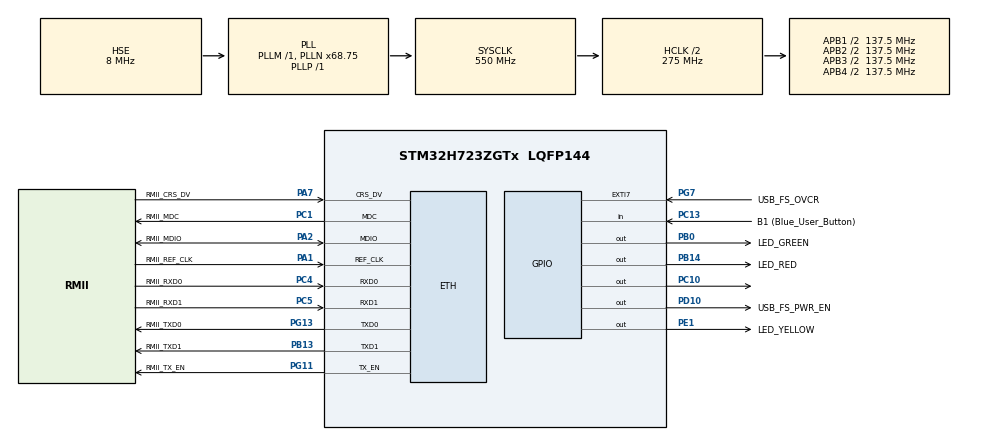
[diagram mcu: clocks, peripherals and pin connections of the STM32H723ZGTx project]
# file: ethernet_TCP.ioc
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CORTEX_M7.AccessPermission-Cortex_Memory_Protection_Unit_Region0_Settings=MPU_REGION_NO_ACCESS
CORTEX_M7.AccessPermission-Cortex_Memory_Protection_Unit_Region1_Settings=MPU_REGION_FULL_ACCESS
CORTEX_M7.AccessPermission-Cortex_Memory_Protection_Unit_Region2_Settings=MPU_REGION_FULL_ACCESS
CORTEX_M7.BaseAddress-Cortex_Memory_Protection_Unit_Region0_Settings=0x00
CORTEX_M7.BaseAddress-Cortex_Memory_Protection_Unit_Region1_Settings=0x30000000
CORTEX_M7.BaseAddress-Cortex_Memory_Protection_Unit_Region2_Settings=0x30004000
CORTEX_M7.CPU_DCache=Enabled
CORTEX_M7.CPU_ICache=Enabled
CORTEX_M7.DisableExec-Cortex_Memory_Protection_Unit_Region0_Settings=MPU_INSTRUCTION_ACCESS_DISABLE
CORTEX_M7.DisableExec-Cortex_Memory_Protection_Unit_Region1_Settings=MPU_INSTRUCTION_ACCESS_ENABLE
CORTEX_M7.Enable-Cortex_Memory_Protection_Unit_Region0_Settings=MPU_REGION_ENABLE
CORTEX_M7.Enable-Cortex_Memory_Protection_Unit_Region1_Settings=MPU_REGION_ENABLE
CORTEX_M7.Enable-Cortex_Memory_Protection_Unit_Region2_Settings=MPU_REGION_ENABLE
CORTEX_M7.IsBufferable-Cortex_Memory_Protection_Unit_Region1_Settings=MPU_ACCESS_BUFFERABLE
CORTEX_M7.IsCacheable-Cortex_Memory_Protection_Unit_Region0_Settings=MPU_ACCESS_NOT_CACHEABLE
CORTEX_M7.IsShareable-Cortex_Memory_Protection_Unit_Region0_Settings=MPU_ACCESS_SHAREABLE
CORTEX_M7.IsShareable-Cortex_Memory_Protection_Unit_Region2_Settings=MPU_ACCESS_SHAREABLE
CORTEX_M7.MPU_Control=MPU_PRIVILEGED_DEFAULT
CORTEX_M7.Size-Cortex_Memory_Protection_Unit_Region0_Settings=MPU_REGION_SIZE_4GB
CORTEX_M7.Size-Cortex_Memory_Protection_Unit_Region1_Settings=MPU_REGION_SIZE_1KB
CORTEX_M7.Size-Cortex_Memory_Protection_Unit_Region2_Settings=MPU_REGION_SIZE_16KB
CORTEX_M7.SubRegionDisable-Cortex_Memory_Protection_Unit_Region0_Settings=0x87
CORTEX_M7.TypeExtField-Cortex_Memory_Protection_Unit_Region0_Settings=MPU_TEX_LEVEL0
CORTEX_M7.TypeExtField-Cortex_Memory_Protection_Unit_Region2_Settings=MPU_TEX_LEVEL1
ETH.MediaInterface=HAL_ETH_RMII_MODE
ETH.RxBuffLen=1524
ETH.TxDescAddress=0x30000200
LWIP.BSP.number=1
LWIP.GATEWAY_ADDRESS=192.168.000.001
LWIP.IP_ADDRESS=192.168.000.123
LWIP.LWIP_DHCP=0
LWIP.LWIP_RAM_HEAP_POINTER=0x30004000
LWIP.MEM_SIZE=10*1024
LWIP.NETMASK_ADDRESS=255.255.255.000
LWIP.Version=v2.1.2_Cube
LWIP0.BSP.STBoard=false
LWIP0.BSP.api=BSP_COMPONENT_DRIVER
LWIP0.BSP.component=LAN8742
LWIP0.BSP.instance=LAN8742
LWIP0.BSP.name=Driver_PHY
LWIP0.BSP.semaphore=S_LAN8742
LWIP0.BSP.solution=LAN8742
Mcu.Family=STM32H7
Mcu.Name=STM32H723ZGTx
Mcu.Package=LQFP144
NVIC.ETH_IRQn=true\:0\:0\:false\:false\:true\:true\:true\:true
NVIC.PriorityGroup=NVIC_PRIORITYGROUP_4
NVIC.TIM1_UP_IRQn=true\:0\:0\:false\:false\:true\:true\:true\:true
PA1.GPIO_Label=RMII_REF_CLK
PA1.GPIO_Speed=GPIO_SPEED_FREQ_VERY_HIGH
PA1.Mode=RMII
PA1.Signal=ETH_REF_CLK
PA10.GPIO_Label=USB_FS_ID
PA10.Signal=USB_OTG_HS_ID
PA13(JTMS/SWDIO).GPIO_Label=SWDIO
PA13(JTMS/SWDIO).Signal=DEBUG_JTMS-SWDIO
PA14(JTCK/SWCLK).GPIO_Label=SWCLK
PA14(JTCK/SWCLK).Signal=DEBUG_JTCK-SWCLK
PA2.GPIO_Label=RMII_MDIO
PA2.GPIO_Speed=GPIO_SPEED_FREQ_VERY_HIGH
PA2.Mode=RMII
PA2.Signal=ETH_MDIO
PA7.GPIO_Label=RMII_CRS_DV
PA7.GPIO_Speed=GPIO_SPEED_FREQ_VERY_HIGH
PA7.Mode=RMII
PA7.Signal=ETH_CRS_DV
PA9.GPIO_Label=USB_FS_VBUS
PA9.Signal=USB_OTG_HS_VBUS
PB0.GPIO_Label=LED_GREEN
PB0.Signal=GPIO_Output
PB13.GPIO_Label=RMII_TXD1
PB13.GPIO_Speed=GPIO_SPEED_FREQ_VERY_HIGH
PB13.Mode=RMII
PB13.Signal=ETH_TXD1
PB14.GPIO_Label=LED_RED
PB14.Signal=GPIO_Output
PB3(JTDO/TRACESWO).GPIO_Label=SWO
PB3(JTDO/TRACESWO).Signal=DEBUG_JTDO-SWO
PC1.GPIO_Label=RMII_MDC
PC1.GPIO_Speed=GPIO_SPEED_FREQ_VERY_HIGH
PC1.Mode=RMII
PC1.Signal=ETH_MDC
PC10.Signal=GPIO_Output
PC13.GPIO_Label=B1 (Blue_User_Button)
PC13.Signal=GPIO_Input
PC14-OSC32_IN.Signal=RCC_OSC32_IN
PC15-OSC32_OUT.Signal=RCC_OSC32_OUT
PC4.GPIO_Label=RMII_RXD0
PC4.GPIO_Speed=GPIO_SPEED_FREQ_VERY_HIGH
PC4.Mode=RMII
PC4.Signal=ETH_RXD0
PC5.GPIO_Label=RMII_RXD1
PC5.GPIO_Speed=GPIO_SPEED_FREQ_VERY_HIGH
PC5.Mode=RMII
PC5.Signal=ETH_RXD1
PD10.GPIO_Label=USB_FS_PWR_EN
PD10.Signal=GPIO_Output
PD8.GPIO_Label=STLK_VCP_RX
PD8.Signal=USART3_TX
PD9.GPIO_Label=STLK_VCP_TX
PD9.Signal=USART3_RX
PE1.GPIO_Label=LED_YELLOW
PE1.Signal=GPIO_Output
PG11.GPIO_Label=RMII_TX_EN
PG11.GPIO_Speed=GPIO_SPEED_FREQ_VERY_HIGH
PG11.Mode=RMII
PG11.Signal=ETH_TX_EN
PG13.GPIO_Label=RMII_TXD0
PG13.GPIO_Speed=GPIO_SPEED_FREQ_VERY_HIGH
PG13.Mode=RMII
PG13.Signal=ETH_TXD0
PG7.GPIO_Label=USB_FS_OVCR
PG7.Signal=GPXTI7
PH0-OSC_IN.GPIO_Label=MCO
PH0-OSC_IN.Mode=HSE-External-Oscillator
PH0-OSC_IN.Signal=RCC_OSC_IN
PH1-OSC_OUT.Mode=HSE-External-Oscillator
PH1-OSC_OUT.Signal=RCC_OSC_OUT
ProjectManager.HeapSize=0x200
ProjectManager.StackSize=0x400
ProjectManager.TargetToolchain=STM32CubeIDE
RCC.ADCFreq_Value=76000000
RCC.APB1Freq_Value=137500000
RCC.APB2Freq_Value=137500000
RCC.APB3Freq_Value=137500000
RCC.APB4Freq_Value=137500000
RCC.CortexFreq_Value=550000000
RCC.D1PPRE=RCC_APB3_DIV2
RCC.D2PPRE1=RCC_APB1_DIV2
RCC.D2PPRE2=RCC_APB2_DIV2
RCC.D3PPRE=RCC_APB4_DIV2
RCC.DIVM1=1
RCC.DIVM2=1
RCC.DIVN1=68
RCC.DIVN2=19
RCC.DIVP1=1
RCC.DIVQ1=4
RCC.HCLKFreq_Value=275000000
RCC.HPRE=RCC_HCLK_DIV2
RCC.HSE_VALUE=8000000
RCC.PLLFRACN=6144
RCC.PLLSourceVirtual=RCC_PLLSOURCE_HSE
RCC.SYSCLKFreq_VALUE=550000000
RCC.SYSCLKSource=RCC_SYSCLKSOURCE_PLLCLK
RCC.USBCLockSelection=RCC_USBCLKSOURCE_HSI48
RCC.USBFreq_Value=48000000
TIM1.AutoReloadPreload=TIM_AUTORELOAD_PRELOAD_ENABLE
TIM1.Period=9999
TIM1.Prescaler=27499
VP_LWIP_VS_Enabled.Mode=Enabled
VP_TIM1_VS_ClockSourceINT.Mode=Internal
board=NUCLEO-H723ZG

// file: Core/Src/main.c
/* USER CODE BEGIN Header */
/**
  ******************************************************************************
  * @file           : main.c
  * @brief          : Main program body
  ******************************************************************************
  * @attention
  *
  * Copyright (c) 2022 STMicroelectronics.
  * All rights reserved.
  *
  * This software is licensed under terms that can be found in the LICENSE file
  * in the root directory of this software component.
  * If no LICENSE file comes with this software, it is provided AS-IS.
  *
  ******************************************************************************
  */
/* USER CODE END Header */
#include "main.h"
#include "lwip.h"

/* USER CODE BEGIN Includes */
#include "lwip/opt.h"
#include "lwip/init.h"
#include "netif/etharp.h"
#include "lwip/netif.h"
#include "lwip/timeouts.h"
#if LWIP_DHCP
#include "lwip/dhcp.h"
#endif
#include "ethernetif.h"
#include "tcpClientRAW.h"

/* USER CODE END Includes */

TIM_HandleTypeDef htim1;

void SystemClock_Config(void);
static void MPU_Config(void);
static void MX_GPIO_Init(void);
static void MX_TIM1_Init(void);

/* USER CODE BEGIN 0 */
extern struct netif gnetif;
//struct netif gnetif;

/* USER CODE END 0 */

int main(void)
{

  /* MPU Configuration--------------------------------------------------------*/
  MPU_Config();

  /* Enable I-Cache---------------------------------------------------------*/
  SCB_EnableICache();

  /* Enable D-Cache---------------------------------------------------------*/
  SCB_EnableDCache();

  /* MCU Configuration--------------------------------------------------------*/

  /* Reset of all peripherals, Initializes the Flash interface and the Systick. */
  HAL_Init();

  /* Configure the system clock */
  SystemClock_Config();

  /* Initialize all configured peripherals */
  MX_GPIO_Init();
  MX_LWIP_Init();
  MX_TIM1_Init();
  /* USER CODE BEGIN 2 */
  HAL_TIM_Base_Start_IT(&htim1);
  tcp_client_init();
  /* USER CODE END 2 */

  /* Infinite loop */
  while (1)
  {

    /* USER CODE BEGIN 3 */
	ethernetif_input(&gnetif);

	/* Handle timeouts */
	sys_check_timeouts();

  }
  /* USER CODE END 3 */
}

void SystemClock_Config(void)
{
  RCC_OscInitTypeDef RCC_OscInitStruct = {0};
  RCC_ClkInitTypeDef RCC_ClkInitStruct = {0};

  /** Supply configuration update enable
  */
  HAL_PWREx_ConfigSupply(PWR_LDO_SUPPLY);

  /** Configure the main internal regulator output voltage
  */
  __HAL_PWR_VOLTAGESCALING_CONFIG(PWR_REGULATOR_VOLTAGE_SCALE0);

  while(!__HAL_PWR_GET_FLAG(PWR_FLAG_VOSRDY)) {}

  /** Initializes the RCC Oscillators according to the specified parameters
  * in the RCC_OscInitTypeDef structure.
  */
  RCC_OscInitStruct.OscillatorType = RCC_OSCILLATORTYPE_HSE;
  RCC_OscInitStruct.HSEState = RCC_HSE_ON;
  RCC_OscInitStruct.PLL.PLLState = RCC_PLL_ON;
  RCC_OscInitStruct.PLL.PLLSource = RCC_PLLSOURCE_HSE;
  RCC_OscInitStruct.PLL.PLLM = 1;
  RCC_OscInitStruct.PLL.PLLN = 68;
  RCC_OscInitStruct.PLL.PLLP = 1;
  RCC_OscInitStruct.PLL.PLLQ = 4;
  RCC_OscInitStruct.PLL.PLLR = 2;
  RCC_OscInitStruct.PLL.PLLRGE = RCC_PLL1VCIRANGE_3;
  RCC_OscInitStruct.PLL.PLLVCOSEL = RCC_PLL1VCOWIDE;
  RCC_OscInitStruct.PLL.PLLFRACN = 6144;
  if (HAL_RCC_OscConfig(&RCC_OscInitStruct) != HAL_OK)
  {
    Error_Handler();
  }

  /** Initializes the CPU, AHB and APB buses clocks
  */
  RCC_ClkInitStruct.ClockType = RCC_CLOCKTYPE_HCLK|RCC_CLOCKTYPE_SYSCLK
                              |RCC_CLOCKTYPE_PCLK1|RCC_CLOCKTYPE_PCLK2
                              |RCC_CLOCKTYPE_D3PCLK1|RCC_CLOCKTYPE_D1PCLK1;
  RCC_ClkInitStruct.SYSCLKSource = RCC_SYSCLKSOURCE_PLLCLK;
  RCC_ClkInitStruct.SYSCLKDivider = RCC_SYSCLK_DIV1;
  RCC_ClkInitStruct.AHBCLKDivider = RCC_HCLK_DIV2;
  RCC_ClkInitStruct.APB3CLKDivider = RCC_APB3_DIV2;
  RCC_ClkInitStruct.APB1CLKDivider = RCC_APB1_DIV2;
  RCC_ClkInitStruct.APB2CLKDivider = RCC_APB2_DIV2;
  RCC_ClkInitStruct.APB4CLKDivider = RCC_APB4_DIV2;

  if (HAL_RCC_ClockConfig(&RCC_ClkInitStruct, FLASH_LATENCY_3) != HAL_OK)
  {
    Error_Handler();
  }
}

static void MX_TIM1_Init(void)
{

  TIM_ClockConfigTypeDef sClockSourceConfig = {0};
  TIM_MasterConfigTypeDef sMasterConfig = {0};

  htim1.Instance = TIM1;
  htim1.Init.Prescaler = 27499;
  htim1.Init.CounterMode = TIM_COUNTERMODE_UP;
  htim1.Init.Period = 9999;
  htim1.Init.ClockDivision = TIM_CLOCKDIVISION_DIV1;
  htim1.Init.RepetitionCounter = 0;
  htim1.Init.AutoReloadPreload = TIM_AUTORELOAD_PRELOAD_ENABLE;
  if (HAL_TIM_Base_Init(&htim1) != HAL_OK)
  {
    Error_Handler();
  }
  sClockSourceConfig.ClockSource = TIM_CLOCKSOURCE_INTERNAL;
  if (HAL_TIM_ConfigClockSource(&htim1, &sClockSourceConfig) != HAL_OK)
  {
    Error_Handler();
  }
  sMasterConfig.MasterOutputTrigger = TIM_TRGO_RESET;
  sMasterConfig.MasterOutputTrigger2 = TIM_TRGO2_RESET;
  sMasterConfig.MasterSlaveMode = TIM_MASTERSLAVEMODE_DISABLE;
  if (HAL_TIMEx_MasterConfigSynchronization(&htim1, &sMasterConfig) != HAL_OK)
  {
    Error_Handler();
  }

}

static void MX_GPIO_Init(void)
{
  GPIO_InitTypeDef GPIO_InitStruct = {0};

  /* GPIO Ports Clock Enable */
  __HAL_RCC_GPIOC_CLK_ENABLE();
  __HAL_RCC_GPIOH_CLK_ENABLE();
  __HAL_RCC_GPIOA_CLK_ENABLE();
  __HAL_RCC_GPIOB_CLK_ENABLE();
  __HAL_RCC_GPIOD_CLK_ENABLE();
  __HAL_RCC_GPIOG_CLK_ENABLE();
  __HAL_RCC_GPIOE_CLK_ENABLE();

  /*Configure GPIO pin Output Level */
  HAL_GPIO_WritePin(GPIOB, LED_GREEN_Pin|LED_RED_Pin, GPIO_PIN_RESET);

  /*Configure GPIO pin Output Level */
  HAL_GPIO_WritePin(USB_FS_PWR_EN_GPIO_Port, USB_FS_PWR_EN_Pin, GPIO_PIN_RESET);

  /*Configure GPIO pin Output Level */
  HAL_GPIO_WritePin(GPIOC, GPIO_PIN_10, GPIO_PIN_RESET);

  /*Configure GPIO pin Output Level */
  HAL_GPIO_WritePin(LED_YELLOW_GPIO_Port, LED_YELLOW_Pin, GPIO_PIN_RESET);

  /*Configure GPIO pin : B1_Pin */
  GPIO_InitStruct.Pin = B1_Pin;
  GPIO_InitStruct.Mode = GPIO_MODE_INPUT;
  GPIO_InitStruct.Pull = GPIO_NOPULL;
  HAL_GPIO_Init(B1_GPIO_Port, &GPIO_InitStruct);

  /*Configure GPIO pins : LED_GREEN_Pin LED_RED_Pin */
  GPIO_InitStruct.Pin = LED_GREEN_Pin|LED_RED_Pin;
  GPIO_InitStruct.Mode = GPIO_MODE_OUTPUT_PP;
  GPIO_InitStruct.Pull = GPIO_NOPULL;
  GPIO_InitStruct.Speed = GPIO_SPEED_FREQ_LOW;
  HAL_GPIO_Init(GPIOB, &GPIO_InitStruct);

  /*Configure GPIO pins : STLK_VCP_RX_Pin STLK_VCP_TX_Pin */
  GPIO_InitStruct.Pin = STLK_VCP_RX_Pin|STLK_VCP_TX_Pin;
  GPIO_InitStruct.Mode = GPIO_MODE_AF_PP;
  GPIO_InitStruct.Pull = GPIO_NOPULL;
  GPIO_InitStruct.Speed = GPIO_SPEED_FREQ_LOW;
  GPIO_InitStruct.Alternate = GPIO_AF7_USART3;
  HAL_GPIO_Init(GPIOD, &GPIO_InitStruct);

  /*Configure GPIO pin : USB_FS_PWR_EN_Pin */
  GPIO_InitStruct.Pin = USB_FS_PWR_EN_Pin;
  GPIO_InitStruct.Mode = GPIO_MODE_OUTPUT_PP;
  GPIO_InitStruct.Pull = GPIO_NOPULL;
  GPIO_InitStruct.Speed = GPIO_SPEED_FREQ_LOW;
  HAL_GPIO_Init(USB_FS_PWR_EN_GPIO_Port, &GPIO_InitStruct);

  /*Configure GPIO pin : USB_FS_OVCR_Pin */
  GPIO_InitStruct.Pin = USB_FS_OVCR_Pin;
  GPIO_InitStruct.Mode = GPIO_MODE_IT_RISING;
  GPIO_InitStruct.Pull = GPIO_NOPULL;
  HAL_GPIO_Init(USB_FS_OVCR_GPIO_Port, &GPIO_InitStruct);

  /*Configure GPIO pin : USB_FS_ID_Pin */
  GPIO_InitStruct.Pin = USB_FS_ID_Pin;
  GPIO_InitStruct.Mode = GPIO_MODE_AF_PP;
  GPIO_InitStruct.Pull = GPIO_NOPULL;
  GPIO_InitStruct.Speed = GPIO_SPEED_FREQ_LOW;
  GPIO_InitStruct.Alternate = GPIO_AF10_OTG1_HS;
  HAL_GPIO_Init(USB_FS_ID_GPIO_Port, &GPIO_InitStruct);

  /*Configure GPIO pin : PC10 */
  GPIO_InitStruct.Pin = GPIO_PIN_10;
  GPIO_InitStruct.Mode = GPIO_MODE_OUTPUT_PP;
  GPIO_InitStruct.Pull = GPIO_NOPULL;
  GPIO_InitStruct.Speed = GPIO_SPEED_FREQ_LOW;
  HAL_GPIO_Init(GPIOC, &GPIO_InitStruct);

  /*Configure GPIO pin : LED_YELLOW_Pin */
  GPIO_InitStruct.Pin = LED_YELLOW_Pin;
  GPIO_InitStruct.Mode = GPIO_MODE_OUTPUT_PP;
  GPIO_InitStruct.Pull = GPIO_NOPULL;
  GPIO_InitStruct.Speed = GPIO_SPEED_FREQ_LOW;
  HAL_GPIO_Init(LED_YELLOW_GPIO_Port, &GPIO_InitStruct);

}

/* MPU Configuration */

void MPU_Config(void)
{
  MPU_Region_InitTypeDef MPU_InitStruct = {0};

  /* Disables the MPU */
  HAL_MPU_Disable();

  /** Initializes and configures the Region and the memory to be protected
  */
  MPU_InitStruct.Enable = MPU_REGION_ENABLE;
  MPU_InitStruct.Number = MPU_REGION_NUMBER0;
  MPU_InitStruct.BaseAddress = 0x00;
  MPU_InitStruct.Size = MPU_REGION_SIZE_4GB;
  MPU_InitStruct.SubRegionDisable = 0x87;
  MPU_InitStruct.TypeExtField = MPU_TEX_LEVEL0;
  MPU_InitStruct.AccessPermission = MPU_REGION_NO_ACCESS;
  MPU_InitStruct.DisableExec = MPU_INSTRUCTION_ACCESS_DISABLE;
  MPU_InitStruct.IsShareable = MPU_ACCESS_SHAREABLE;
  MPU_InitStruct.IsCacheable = MPU_ACCESS_NOT_CACHEABLE;
  MPU_InitStruct.IsBufferable = MPU_ACCESS_NOT_BUFFERABLE;

  HAL_MPU_ConfigRegion(&MPU_InitStruct);

  /** Initializes and configures the Region and the memory to be protected
  */
  MPU_InitStruct.Number = MPU_REGION_NUMBER1;
  MPU_InitStruct.BaseAddress = 0x30000000;
  MPU_InitStruct.Size = MPU_REGION_SIZE_1KB;
  MPU_InitStruct.SubRegionDisable = 0x0;
  MPU_InitStruct.AccessPermission = MPU_REGION_FULL_ACCESS;
  MPU_InitStruct.DisableExec = MPU_INSTRUCTION_ACCESS_ENABLE;
  MPU_InitStruct.IsShareable = MPU_ACCESS_NOT_SHAREABLE;
  MPU_InitStruct.IsBufferable = MPU_ACCESS_BUFFERABLE;

  HAL_MPU_ConfigRegion(&MPU_InitStruct);

  /** Initializes and configures the Region and the memory to be protected
  */
  MPU_InitStruct.Number = MPU_REGION_NUMBER2;
  MPU_InitStruct.BaseAddress = 0x30004000;
  MPU_InitStruct.Size = MPU_REGION_SIZE_16KB;
  MPU_InitStruct.TypeExtField = MPU_TEX_LEVEL1;
  MPU_InitStruct.IsShareable = MPU_ACCESS_SHAREABLE;
  MPU_InitStruct.IsBufferable = MPU_ACCESS_NOT_BUFFERABLE;

  HAL_MPU_ConfigRegion(&MPU_InitStruct);
  /* Enables the MPU */
  HAL_MPU_Enable(MPU_PRIVILEGED_DEFAULT);

}

void Error_Handler(void)
{
  __disable_irq();
  while (1)
  {
  }
}
